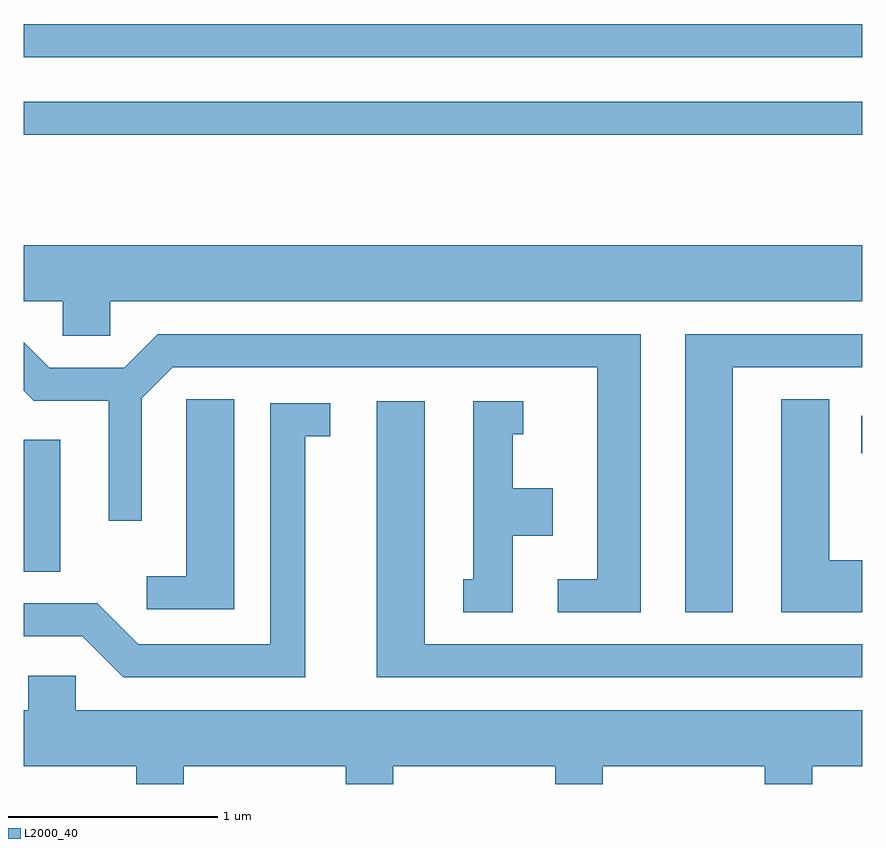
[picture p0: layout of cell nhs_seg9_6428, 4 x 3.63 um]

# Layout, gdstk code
import gdstk
lib = gdstk.Library(unit=1e-6, precision=1e-09)
def R(c, l, rs):  # rectangles x0, y0, x1, y1
    for r in rs: c.add(gdstk.rectangle(r[:2], r[2:], *l))
def P(c, l, *ps):  # polygons
    for p in ps: c.add(gdstk.Polygon(p, *l))
L2000_40 = (2000, 40)

nhs_seg9_6428 = lib.new_cell('nhs_seg9_6428')
R(nhs_seg9_6428, L2000_40, [(375.611,1959.446,375.784,1960.074), (379.606,1960.011,379.611,1960.189), (375.611,1961.531,379.611,1961.689), (375.611,1961.901,379.611,1962.059)])
P(nhs_seg9_6428, L2000_40, [(376.024,1960.736),(379.611,1960.736),(379.611,1961.004),(375.611,1961.004),(375.611,1960.736),(375.796,1960.736),(375.796,1960.571),(376.024,1960.571)],
  [(378.554,1960.579),(376.249,1960.579),(376.089,1960.419),(375.732,1960.419),(375.611,1960.54),(375.611,1960.309),(375.659,1960.261),(376.016,1960.261),(376.016,1959.688),(376.174,1959.688),(376.174,1960.274),(376.322,1960.421),(378.346,1960.421),(378.346,1959.409),(378.158,1959.409),(378.158,1959.251),(378.554,1959.251)],
  [(378.994,1960.421),(379.611,1960.421),(379.611,1960.579),(378.766,1960.579),(378.766,1959.251),(378.994,1959.251)],
  [(376.614,1960.269),(376.386,1960.269),(376.386,1959.424),(376.198,1959.424),(376.198,1959.266),(376.614,1959.266)],
  [(379.611,1959.499),(379.454,1959.499),(379.454,1960.269),(379.226,1960.269),(379.226,1959.251),(379.611,1959.251)],
  [(379.611,1959.099),(377.524,1959.099),(377.524,1960.259),(377.296,1960.259),(377.296,1958.941),(379.611,1958.941)],
  [(377.944,1959.616),(378.134,1959.616),(378.134,1959.844),(377.944,1959.844),(377.944,1960.101),(377.993,1960.101),(377.993,1960.259),(377.756,1960.259),(377.756,1959.409),(377.708,1959.409),(377.708,1959.251),(377.944,1959.251)],
  [(376.954,1960.091),(377.073,1960.091),(377.073,1960.249),(376.786,1960.249),(376.786,1959.099),(376.157,1959.099),(375.962,1959.294),(375.611,1959.294),(375.611,1959.136),(375.889,1959.136),(376.084,1958.941),(376.954,1958.941)],
  [(376.374,1958.516),(377.146,1958.516),(377.146,1958.432),(377.374,1958.432),(377.374,1958.516),(378.146,1958.516),(378.146,1958.432),(378.374,1958.432),(378.374,1958.516),(379.146,1958.516),(379.146,1958.432),(379.374,1958.432),(379.374,1958.516),(379.611,1958.516),(379.611,1958.784),(375.859,1958.784),(375.859,1958.949),(375.631,1958.949),(375.631,1958.784),(375.611,1958.784),(375.611,1958.516),(376.146,1958.516),(376.146,1958.432),(376.374,1958.432)])

lib.write_gds('nhs_seg9_6428.gds')
